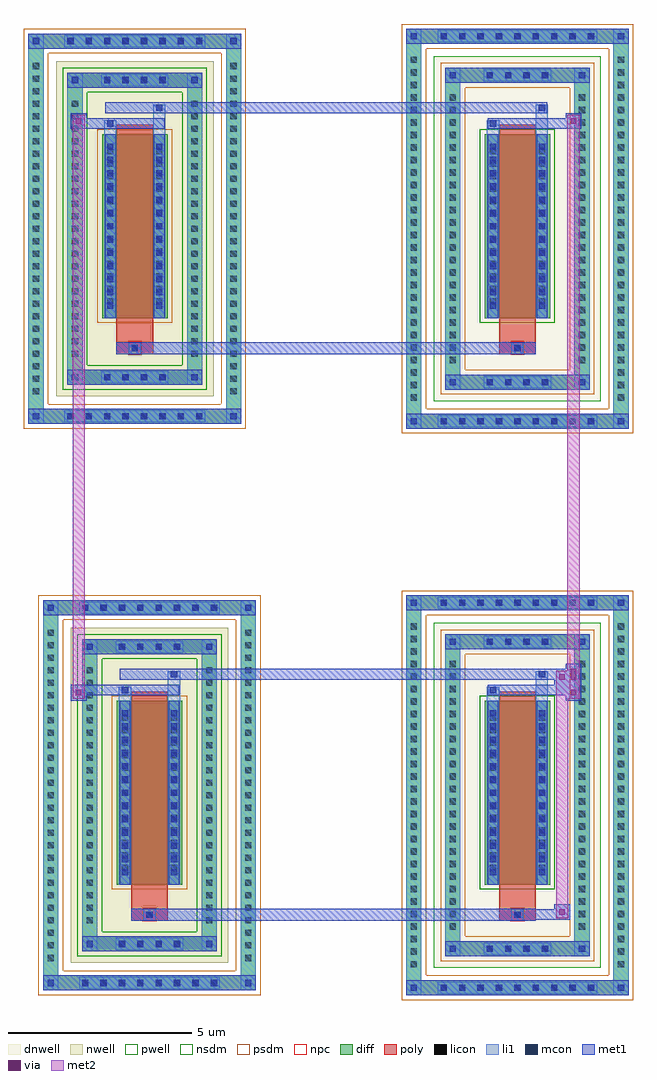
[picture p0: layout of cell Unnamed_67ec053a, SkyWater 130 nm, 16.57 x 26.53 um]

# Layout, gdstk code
import gdstk
lib = gdstk.Library(unit=1e-6, precision=5e-09)
def R(c, l, rs):  # rectangles x0, y0, x1, y1
    for r in rs: c.add(gdstk.rectangle(r[:2], r[2:], *l))
def A(c, l, x, y, w, h, nx, ny, dx, dy):  # array of equal rectangles
    R(c, l, [(x+i*dx, y+j*dy, x+i*dx+w, y+j*dy+h) for i in range(nx) for j in range(ny)])
def P(c, l, *ps):  # polygons
    for p in ps: c.add(gdstk.Polygon(p, *l))
dnwell = (64, 18)
nwell = (64, 20)
pwell = (64, 44)
diff = (65, 20)
poly = (66, 20)
licon = (66, 44)
li1 = (67, 20)
mcon = (67, 44)
met1 = (68, 20)
via = (68, 44)
met2 = (69, 20)
nsdm = (93, 44)
psdm = (94, 20)
npc = (95, 20)

unnamed_5d99ce48 = lib.new_cell('Unnamed_5d99ce48')
R(unnamed_5d99ce48, nwell, [(-2.14,-4.555,2.14,4.555)])
A(unnamed_5d99ce48, diff, -1.955, -5.305, 0.41, 0.41, 8, 2, 0.5, 10.2)
A(unnamed_5d99ce48, diff, -2.89, -4.625, 0.41, 0.41, 1, 27, 0, 0.34)
A(unnamed_5d99ce48, diff, 2.48, -4.625, 0.41, 0.41, 1, 27, 0, 0.34)
A(unnamed_5d99ce48, diff, -0.955, -4.245, 0.41, 0.41, 4, 2, 0.5, 8.08)
A(unnamed_5d99ce48, diff, -1.83, -3.605, 0.41, 0.41, 1, 21, 0, 0.34)
A(unnamed_5d99ce48, diff, 1.42, -3.605, 0.41, 0.41, 1, 21, 0, 0.34)
R(unnamed_5d99ce48, diff, [(-1.955,-5.305,1.955,-4.895), (-2.89,-4.625,-2.48,4.625), (2.48,-4.625,2.89,4.625), (-0.955,-4.245,0.955,-3.835), (-1.83,-3.605,-1.42,3.605), (1.42,-3.605,1.83,3.605), (-0.89,-2.43,0.89,2.57), (-0.955,3.835,0.955,4.245), (-1.955,4.895,1.955,5.305)])
P(unnamed_5d99ce48, diff, [(2.89,5.305),(-2.89,5.305),(-2.89,-4.895),(-2.48,-4.895),(-2.48,4.895),(2.48,4.895),(2.48,-4.895),(-2.48,-4.895),(-2.89,-4.895),(-2.89,-5.305),(2.89,-5.305)],
  [(1.83,4.245),(-1.83,4.245),(-1.83,-3.835),(-1.42,-3.835),(-1.42,3.835),(1.42,3.835),(1.42,-3.835),(-1.42,-3.835),(-1.83,-3.835),(-1.83,-4.245),(1.83,-4.245)])
R(unnamed_5d99ce48, poly, [(-0.5,-3.41,0.5,-3.08), (-0.165,-3.41,0.165,-3.08), (-0.5,-3.08,0.5,-2.68), (-0.5,-2.68,0.5,2.82)])
A(unnamed_5d99ce48, licon, -1.835, -5.185, 0.17, 0.17, 8, 2, 0.5, 10.2)
A(unnamed_5d99ce48, licon, -2.77, -4.505, 0.17, 0.17, 1, 27, 0, 0.34)
A(unnamed_5d99ce48, licon, 2.6, -4.505, 0.17, 0.17, 1, 27, 0, 0.34)
A(unnamed_5d99ce48, licon, -0.835, -4.125, 0.17, 0.17, 4, 2, 0.5, 8.08)
A(unnamed_5d99ce48, licon, -1.71, -3.485, 0.17, 0.17, 1, 21, 0, 0.34)
A(unnamed_5d99ce48, licon, 1.54, -3.485, 0.17, 0.17, 1, 21, 0, 0.34)
A(unnamed_5d99ce48, licon, -0.75, -2.055, 0.17, 0.17, 1, 13, 0, 0.34)
A(unnamed_5d99ce48, licon, 0.58, -2.055, 0.17, 0.17, 1, 13, 0, 0.34)
R(unnamed_5d99ce48, licon, [(-0.085,-3.33,0.085,-3.16)])
A(unnamed_5d99ce48, li1, -1.915, -5.265, 0.33, 0.33, 8, 2, 0.5, 10.2)
A(unnamed_5d99ce48, li1, -2.85, -4.585, 0.33, 0.33, 1, 27, 0, 0.34)
A(unnamed_5d99ce48, li1, 2.52, -4.585, 0.33, 0.33, 1, 27, 0, 0.34)
A(unnamed_5d99ce48, li1, -0.915, -4.205, 0.33, 0.33, 4, 2, 0.5, 8.08)
A(unnamed_5d99ce48, li1, -1.79, -3.565, 0.33, 0.33, 1, 21, 0, 0.34)
A(unnamed_5d99ce48, li1, 1.46, -3.565, 0.33, 0.33, 1, 21, 0, 0.34)
A(unnamed_5d99ce48, li1, -0.75, -2.175, 0.17, 0.17, 1, 13, 0, 0.36)
A(unnamed_5d99ce48, li1, 0.58, -2.175, 0.17, 0.17, 1, 13, 0, 0.36)
A(unnamed_5d99ce48, li1, -0.83, -2.135, 0.33, 0.33, 1, 13, 0, 0.34)
A(unnamed_5d99ce48, li1, 0.5, -2.135, 0.33, 0.33, 1, 13, 0, 0.34)
R(unnamed_5d99ce48, li1, [(-2.89,-5.305,-2.48,-4.895), (2.48,-5.305,2.89,-4.895), (-1.915,-5.265,1.915,-4.935), (-2.77,-5.185,-2.6,-5.015), (-2.77,-5.185,-2.6,-5.015), (2.6,-5.185,2.77,-5.015), (2.6,-5.185,2.77,-5.015), (-2.89,-4.895,-2.48,4.895), (2.48,-4.895,2.89,4.895), (-1.83,-4.245,-1.42,-3.835), (1.42,-4.245,1.83,-3.835), (-0.915,-4.205,0.915,-3.875), (-1.71,-4.125,-1.54,-3.955), (-1.71,-4.125,-1.54,-3.955), (1.54,-4.125,1.71,-3.955), (1.54,-4.125,1.71,-3.955), (-1.83,-3.835,-1.42,3.835), (1.42,-3.835,1.83,3.835), (-0.165,-3.41,0.165,-3.08), (-0.83,-2.43,-0.5,2.57), (0.5,-2.43,0.83,2.57), (-0.75,-2.175,-0.58,2.315), (0.58,-2.175,0.75,2.315), (-0.83,2.57,-0.5,2.945), (0.5,2.57,0.83,3.375), (-0.75,2.775,-0.58,2.945), (0.58,3.205,0.75,3.375), (-1.83,3.835,-1.42,4.245), (1.42,3.835,1.83,4.245), (-0.915,3.875,0.915,4.205), (-1.71,3.955,-1.54,4.125), (-1.71,3.955,-1.54,4.125), (1.54,3.955,1.71,4.125), (1.54,3.955,1.71,4.125), (-2.89,4.895,-2.48,5.305), (2.48,4.895,2.89,5.305), (-1.915,4.935,1.915,5.265), (-2.77,5.015,-2.6,5.185), (-2.77,5.015,-2.6,5.185), (2.6,5.015,2.77,5.185), (2.6,5.015,2.77,5.185)])
A(unnamed_5d99ce48, mcon, -1.835, -5.185, 0.17, 0.17, 8, 2, 0.5, 10.2)
A(unnamed_5d99ce48, mcon, -0.835, -4.125, 0.17, 0.17, 4, 2, 0.5, 8.08)
A(unnamed_5d99ce48, mcon, -0.75, -2.175, 0.17, 0.17, 1, 13, 0, 0.36)
A(unnamed_5d99ce48, mcon, 0.58, -2.175, 0.17, 0.17, 1, 13, 0, 0.36)
R(unnamed_5d99ce48, mcon, [(-2.77,-5.185,-2.6,-5.015), (2.6,-5.185,2.77,-5.015), (-1.71,-4.125,-1.54,-3.955), (1.54,-4.125,1.71,-3.955), (-0.085,-3.33,0.085,-3.16), (-0.75,2.775,-0.58,2.945), (0.58,3.205,0.75,3.375), (-1.71,3.955,-1.54,4.125), (1.54,3.955,1.71,4.125), (-2.77,5.015,-2.6,5.185), (2.6,5.015,2.77,5.185)])
A(unnamed_5d99ce48, met1, -1.895, -5.245, 0.29, 0.29, 8, 2, 0.5, 10.2)
A(unnamed_5d99ce48, met1, -0.895, -4.185, 0.29, 0.29, 4, 2, 0.5, 8.08)
A(unnamed_5d99ce48, met1, -0.81, -2.235, 0.29, 0.29, 1, 13, 0, 0.36)
A(unnamed_5d99ce48, met1, 0.52, -2.235, 0.29, 0.29, 1, 13, 0, 0.36)
R(unnamed_5d99ce48, met1, [(-2.89,-5.305,-2.48,-4.895), (-2.89,-5.305,-2.48,-4.895), (-2.48,-5.305,2.48,-4.895), (2.48,-5.305,2.89,-4.895), (2.48,-5.305,2.89,-4.895), (-2.83,-5.245,-2.54,-4.955), (2.54,-5.245,2.83,-4.955), (-1.83,-4.245,-1.42,-3.835), (-1.83,-4.245,-1.42,-3.835), (-1.42,-4.245,1.42,-3.835), (1.42,-4.245,1.83,-3.835), (1.42,-4.245,1.83,-3.835), (-1.77,-4.185,-1.48,-3.895), (1.48,-4.185,1.77,-3.895), (-0.5,-3.41,0.5,-3.08), (-0.145,-3.39,0.145,-3.1), (-0.81,-2.43,-0.52,2.57), (0.52,-2.43,0.81,2.57), (-0.81,2.715,-0.52,3.005), (-0.81,2.715,0.81,3.005), (-0.81,3.145,0.81,3.435), (0.52,3.145,0.81,3.435), (-1.83,3.835,-1.42,4.245), (-1.83,3.835,-1.42,4.245), (-1.42,3.835,1.42,4.245), (1.42,3.835,1.83,4.245), (1.42,3.835,1.83,4.245), (-1.77,3.895,-1.48,4.185), (1.48,3.895,1.77,4.185), (-2.89,4.895,-2.48,5.305), (-2.89,4.895,-2.48,5.305), (-2.48,4.895,2.48,5.305), (2.48,4.895,2.89,5.305), (2.48,4.895,2.89,5.305), (-2.83,4.955,-2.54,5.245), (2.54,4.955,2.83,5.245)])
P(unnamed_5d99ce48, nsdm, [(1.96,4.375),(-1.96,4.375),(-1.96,-3.705),(-1.29,-3.705),(-1.29,3.705),(1.29,3.705),(1.29,-3.705),(-1.29,-3.705),(-1.96,-3.705),(-1.96,-4.375),(1.96,-4.375)])
R(unnamed_5d99ce48, psdm, [(-1.02,-2.56,1.02,2.7)])
P(unnamed_5d99ce48, psdm, [(3.02,5.435),(-3.02,5.435),(-3.02,-4.765),(-2.35,-4.765),(-2.35,4.765),(2.35,4.765),(2.35,-4.765),(-2.35,-4.765),(-3.02,-4.765),(-3.02,-5.435),(3.02,-5.435)])
R(unnamed_5d99ce48, npc, [(-0.185,-3.43,0.185,-3.06), (-0.185,-3.43,0.185,-3.06)])

unnamed_ae79c6bc = lib.new_cell('Unnamed_ae79c6bc')
R(unnamed_ae79c6bc, dnwell, [(-2.27,-4.685,2.27,4.685)])
R(unnamed_ae79c6bc, pwell, [(-2.27,-4.685,2.27,4.685)])
A(unnamed_ae79c6bc, diff, -2.205, -5.435, 0.41, 0.41, 9, 2, 0.5, 10.46)
A(unnamed_ae79c6bc, diff, -3.02, -4.795, 0.41, 0.41, 1, 28, 0, 0.34)
A(unnamed_ae79c6bc, diff, 2.61, -4.795, 0.41, 0.41, 1, 28, 0, 0.34)
A(unnamed_ae79c6bc, diff, -0.955, -4.375, 0.41, 0.41, 4, 2, 0.5, 8.34)
A(unnamed_ae79c6bc, diff, -1.96, -3.775, 0.41, 0.41, 1, 22, 0, 0.34)
A(unnamed_ae79c6bc, diff, 1.55, -3.775, 0.41, 0.41, 1, 22, 0, 0.34)
R(unnamed_ae79c6bc, diff, [(-2.205,-5.435,2.205,-5.025), (-3.02,-4.795,-2.61,4.795), (2.61,-4.795,3.02,4.795), (-0.955,-4.375,0.955,-3.965), (-1.96,-3.775,-1.55,3.775), (1.55,-3.775,1.96,3.775), (-0.89,-2.43,0.89,2.57), (-0.955,3.965,0.955,4.375), (-2.205,5.025,2.205,5.435)])
P(unnamed_ae79c6bc, diff, [(3.02,5.435),(-3.02,5.435),(-3.02,-5.025),(-2.61,-5.025),(-2.61,5.025),(2.61,5.025),(2.61,-5.025),(-2.61,-5.025),(-3.02,-5.025),(-3.02,-5.435),(3.02,-5.435)],
  [(1.96,4.375),(-1.96,4.375),(-1.96,-3.965),(-1.55,-3.965),(-1.55,3.965),(1.55,3.965),(1.55,-3.965),(-1.55,-3.965),(-1.96,-3.965),(-1.96,-4.375),(1.96,-4.375)])
R(unnamed_ae79c6bc, poly, [(-0.5,-3.41,0.5,-3.08), (-0.165,-3.41,0.165,-3.08), (-0.5,-3.08,0.5,-2.68), (-0.5,-2.68,0.5,2.82)])
A(unnamed_ae79c6bc, licon, -2.085, -5.315, 0.17, 0.17, 9, 2, 0.5, 10.46)
A(unnamed_ae79c6bc, licon, -2.9, -4.675, 0.17, 0.17, 1, 28, 0, 0.34)
A(unnamed_ae79c6bc, licon, 2.73, -4.675, 0.17, 0.17, 1, 28, 0, 0.34)
A(unnamed_ae79c6bc, licon, -0.835, -4.255, 0.17, 0.17, 4, 2, 0.5, 8.34)
A(unnamed_ae79c6bc, licon, -1.84, -3.655, 0.17, 0.17, 1, 22, 0, 0.34)
A(unnamed_ae79c6bc, licon, 1.67, -3.655, 0.17, 0.17, 1, 22, 0, 0.34)
A(unnamed_ae79c6bc, licon, -0.75, -2.055, 0.17, 0.17, 1, 13, 0, 0.34)
A(unnamed_ae79c6bc, licon, 0.58, -2.055, 0.17, 0.17, 1, 13, 0, 0.34)
R(unnamed_ae79c6bc, licon, [(-0.085,-3.33,0.085,-3.16)])
A(unnamed_ae79c6bc, li1, -2.165, -5.395, 0.33, 0.33, 9, 2, 0.5, 10.46)
A(unnamed_ae79c6bc, li1, -2.98, -4.755, 0.33, 0.33, 1, 28, 0, 0.34)
A(unnamed_ae79c6bc, li1, 2.65, -4.755, 0.33, 0.33, 1, 28, 0, 0.34)
A(unnamed_ae79c6bc, li1, -0.915, -4.335, 0.33, 0.33, 4, 2, 0.5, 8.34)
A(unnamed_ae79c6bc, li1, -1.92, -3.735, 0.33, 0.33, 1, 22, 0, 0.34)
A(unnamed_ae79c6bc, li1, 1.59, -3.735, 0.33, 0.33, 1, 22, 0, 0.34)
A(unnamed_ae79c6bc, li1, -0.75, -2.175, 0.17, 0.17, 1, 13, 0, 0.36)
A(unnamed_ae79c6bc, li1, 0.58, -2.175, 0.17, 0.17, 1, 13, 0, 0.36)
A(unnamed_ae79c6bc, li1, -0.83, -2.135, 0.33, 0.33, 1, 13, 0, 0.34)
A(unnamed_ae79c6bc, li1, 0.5, -2.135, 0.33, 0.33, 1, 13, 0, 0.34)
R(unnamed_ae79c6bc, li1, [(-3.02,-5.435,-2.61,-5.025), (2.61,-5.435,3.02,-5.025), (-2.165,-5.395,2.165,-5.065), (-2.9,-5.315,-2.73,-5.145), (-2.9,-5.315,-2.73,-5.145), (2.73,-5.315,2.9,-5.145), (2.73,-5.315,2.9,-5.145), (-3.02,-5.025,-2.61,5.025), (2.61,-5.025,3.02,5.025), (-1.96,-4.375,-1.55,-3.965), (1.55,-4.375,1.96,-3.965), (-0.915,-4.335,0.915,-4.005), (-1.84,-4.255,-1.67,-4.085), (-1.84,-4.255,-1.67,-4.085), (1.67,-4.255,1.84,-4.085), (1.67,-4.255,1.84,-4.085), (-1.96,-3.965,-1.55,3.965), (1.55,-3.965,1.96,3.965), (-0.165,-3.41,0.165,-3.08), (-0.83,-2.43,-0.5,2.57), (0.5,-2.43,0.83,2.57), (-0.75,-2.175,-0.58,2.315), (0.58,-2.175,0.75,2.315), (-0.83,2.57,-0.5,2.945), (0.5,2.57,0.83,3.375), (-0.75,2.775,-0.58,2.945), (0.58,3.205,0.75,3.375), (-1.96,3.965,-1.55,4.375), (1.55,3.965,1.96,4.375), (-0.915,4.005,0.915,4.335), (-1.84,4.085,-1.67,4.255), (-1.84,4.085,-1.67,4.255), (1.67,4.085,1.84,4.255), (1.67,4.085,1.84,4.255), (-3.02,5.025,-2.61,5.435), (2.61,5.025,3.02,5.435), (-2.165,5.065,2.165,5.395), (-2.9,5.145,-2.73,5.315), (-2.9,5.145,-2.73,5.315), (2.73,5.145,2.9,5.315), (2.73,5.145,2.9,5.315)])
A(unnamed_ae79c6bc, mcon, -2.085, -5.315, 0.17, 0.17, 9, 2, 0.5, 10.46)
A(unnamed_ae79c6bc, mcon, -0.835, -4.255, 0.17, 0.17, 4, 2, 0.5, 8.34)
A(unnamed_ae79c6bc, mcon, -0.75, -2.175, 0.17, 0.17, 1, 13, 0, 0.36)
A(unnamed_ae79c6bc, mcon, 0.58, -2.175, 0.17, 0.17, 1, 13, 0, 0.36)
R(unnamed_ae79c6bc, mcon, [(-2.9,-5.315,-2.73,-5.145), (2.73,-5.315,2.9,-5.145), (-1.84,-4.255,-1.67,-4.085), (1.67,-4.255,1.84,-4.085), (-0.085,-3.33,0.085,-3.16), (-0.75,2.775,-0.58,2.945), (0.58,3.205,0.75,3.375), (-1.84,4.085,-1.67,4.255), (1.67,4.085,1.84,4.255), (-2.9,5.145,-2.73,5.315), (2.73,5.145,2.9,5.315)])
A(unnamed_ae79c6bc, met1, -2.145, -5.375, 0.29, 0.29, 9, 2, 0.5, 10.46)
A(unnamed_ae79c6bc, met1, -0.895, -4.315, 0.29, 0.29, 4, 2, 0.5, 8.34)
A(unnamed_ae79c6bc, met1, -0.81, -2.235, 0.29, 0.29, 1, 13, 0, 0.36)
A(unnamed_ae79c6bc, met1, 0.52, -2.235, 0.29, 0.29, 1, 13, 0, 0.36)
R(unnamed_ae79c6bc, met1, [(-3.02,-5.435,-2.61,-5.025), (-3.02,-5.435,-2.61,-5.025), (-2.61,-5.435,2.61,-5.025), (2.61,-5.435,3.02,-5.025), (2.61,-5.435,3.02,-5.025), (-2.96,-5.375,-2.67,-5.085), (2.67,-5.375,2.96,-5.085), (-1.96,-4.375,-1.55,-3.965), (-1.96,-4.375,-1.55,-3.965), (-1.55,-4.375,1.55,-3.965), (1.55,-4.375,1.96,-3.965), (1.55,-4.375,1.96,-3.965), (-1.9,-4.315,-1.61,-4.025), (1.61,-4.315,1.9,-4.025), (-0.5,-3.41,0.5,-3.08), (-0.145,-3.39,0.145,-3.1), (-0.81,-2.43,-0.52,2.57), (0.52,-2.43,0.81,2.57), (-0.81,2.715,-0.52,3.005), (-0.81,2.715,0.81,3.005), (-0.81,3.145,0.81,3.435), (0.52,3.145,0.81,3.435), (-1.96,3.965,-1.55,4.375), (-1.96,3.965,-1.55,4.375), (-1.55,3.965,1.55,4.375), (1.55,3.965,1.96,4.375), (1.55,3.965,1.96,4.375), (-1.9,4.025,-1.61,4.315), (1.61,4.025,1.9,4.315), (-3.02,5.025,-2.61,5.435), (-3.02,5.025,-2.61,5.435), (-2.61,5.025,2.61,5.435), (2.61,5.025,3.02,5.435), (2.61,5.025,3.02,5.435), (-2.96,5.085,-2.67,5.375), (2.67,5.085,2.96,5.375)])
R(unnamed_ae79c6bc, nsdm, [(-1.02,-2.56,1.02,2.7)])
P(unnamed_ae79c6bc, psdm, [(3.15,5.565),(-3.15,5.565),(-3.15,-4.895),(-2.48,-4.895),(-2.48,4.895),(2.48,4.895),(2.48,-4.895),(-2.48,-4.895),(-3.15,-4.895),(-3.15,-5.565),(3.15,-5.565)],
  [(2.09,4.505),(-2.09,4.505),(-2.09,-3.835),(-1.42,-3.835),(-1.42,3.835),(1.42,3.835),(1.42,-3.835),(-1.42,-3.835),(-2.09,-3.835),(-2.09,-4.505),(2.09,-4.505)])
R(unnamed_ae79c6bc, npc, [(-0.185,-3.43,0.185,-3.06), (-0.185,-3.43,0.185,-3.06)])

unnamed_a7cad281 = lib.new_cell('Unnamed_a7cad281')
R(unnamed_a7cad281, nwell, [(-2.14,-4.555,2.14,4.555)])
A(unnamed_a7cad281, diff, -1.955, -5.305, 0.41, 0.41, 8, 2, 0.5, 10.2)
A(unnamed_a7cad281, diff, -2.89, -4.625, 0.41, 0.41, 1, 27, 0, 0.34)
A(unnamed_a7cad281, diff, 2.48, -4.625, 0.41, 0.41, 1, 27, 0, 0.34)
A(unnamed_a7cad281, diff, -0.955, -4.245, 0.41, 0.41, 4, 2, 0.5, 8.08)
A(unnamed_a7cad281, diff, -1.83, -3.605, 0.41, 0.41, 1, 21, 0, 0.34)
A(unnamed_a7cad281, diff, 1.42, -3.605, 0.41, 0.41, 1, 21, 0, 0.34)
R(unnamed_a7cad281, diff, [(-1.955,-5.305,1.955,-4.895), (-2.89,-4.625,-2.48,4.625), (2.48,-4.625,2.89,4.625), (-0.955,-4.245,0.955,-3.835), (-1.83,-3.605,-1.42,3.605), (1.42,-3.605,1.83,3.605), (-0.89,-2.43,0.89,2.57), (-0.955,3.835,0.955,4.245), (-1.955,4.895,1.955,5.305)])
P(unnamed_a7cad281, diff, [(2.89,5.305),(-2.89,5.305),(-2.89,-4.895),(-2.48,-4.895),(-2.48,4.895),(2.48,4.895),(2.48,-4.895),(-2.48,-4.895),(-2.89,-4.895),(-2.89,-5.305),(2.89,-5.305)],
  [(1.83,4.245),(-1.83,4.245),(-1.83,-3.835),(-1.42,-3.835),(-1.42,3.835),(1.42,3.835),(1.42,-3.835),(-1.42,-3.835),(-1.83,-3.835),(-1.83,-4.245),(1.83,-4.245)])
R(unnamed_a7cad281, poly, [(-0.5,-3.41,0.5,-3.08), (-0.165,-3.41,0.165,-3.08), (-0.5,-3.08,0.5,-2.68), (-0.5,-2.68,0.5,2.82)])
A(unnamed_a7cad281, licon, -1.835, -5.185, 0.17, 0.17, 8, 2, 0.5, 10.2)
A(unnamed_a7cad281, licon, -2.77, -4.505, 0.17, 0.17, 1, 27, 0, 0.34)
A(unnamed_a7cad281, licon, 2.6, -4.505, 0.17, 0.17, 1, 27, 0, 0.34)
A(unnamed_a7cad281, licon, -0.835, -4.125, 0.17, 0.17, 4, 2, 0.5, 8.08)
A(unnamed_a7cad281, licon, -1.71, -3.485, 0.17, 0.17, 1, 21, 0, 0.34)
A(unnamed_a7cad281, licon, 1.54, -3.485, 0.17, 0.17, 1, 21, 0, 0.34)
A(unnamed_a7cad281, licon, -0.75, -2.055, 0.17, 0.17, 1, 13, 0, 0.34)
A(unnamed_a7cad281, licon, 0.58, -2.055, 0.17, 0.17, 1, 13, 0, 0.34)
R(unnamed_a7cad281, licon, [(-0.085,-3.33,0.085,-3.16)])
A(unnamed_a7cad281, li1, -1.915, -5.265, 0.33, 0.33, 8, 2, 0.5, 10.2)
A(unnamed_a7cad281, li1, -2.85, -4.585, 0.33, 0.33, 1, 27, 0, 0.34)
A(unnamed_a7cad281, li1, 2.52, -4.585, 0.33, 0.33, 1, 27, 0, 0.34)
A(unnamed_a7cad281, li1, -0.915, -4.205, 0.33, 0.33, 4, 2, 0.5, 8.08)
A(unnamed_a7cad281, li1, -1.79, -3.565, 0.33, 0.33, 1, 21, 0, 0.34)
A(unnamed_a7cad281, li1, 1.46, -3.565, 0.33, 0.33, 1, 21, 0, 0.34)
A(unnamed_a7cad281, li1, -0.75, -2.175, 0.17, 0.17, 1, 13, 0, 0.36)
A(unnamed_a7cad281, li1, 0.58, -2.175, 0.17, 0.17, 1, 13, 0, 0.36)
A(unnamed_a7cad281, li1, -0.83, -2.135, 0.33, 0.33, 1, 13, 0, 0.34)
A(unnamed_a7cad281, li1, 0.5, -2.135, 0.33, 0.33, 1, 13, 0, 0.34)
R(unnamed_a7cad281, li1, [(-2.89,-5.305,-2.48,-4.895), (2.48,-5.305,2.89,-4.895), (-1.915,-5.265,1.915,-4.935), (-2.77,-5.185,-2.6,-5.015), (-2.77,-5.185,-2.6,-5.015), (2.6,-5.185,2.77,-5.015), (2.6,-5.185,2.77,-5.015), (-2.89,-4.895,-2.48,4.895), (2.48,-4.895,2.89,4.895), (-1.83,-4.245,-1.42,-3.835), (1.42,-4.245,1.83,-3.835), (-0.915,-4.205,0.915,-3.875), (-1.71,-4.125,-1.54,-3.955), (-1.71,-4.125,-1.54,-3.955), (1.54,-4.125,1.71,-3.955), (1.54,-4.125,1.71,-3.955), (-1.83,-3.835,-1.42,3.835), (1.42,-3.835,1.83,3.835), (-0.165,-3.41,0.165,-3.08), (-0.83,-2.43,-0.5,2.57), (0.5,-2.43,0.83,2.57), (-0.75,-2.175,-0.58,2.315), (0.58,-2.175,0.75,2.315), (-0.83,2.57,-0.5,2.945), (0.5,2.57,0.83,3.375), (-0.75,2.775,-0.58,2.945), (0.58,3.205,0.75,3.375), (-1.83,3.835,-1.42,4.245), (1.42,3.835,1.83,4.245), (-0.915,3.875,0.915,4.205), (-1.71,3.955,-1.54,4.125), (-1.71,3.955,-1.54,4.125), (1.54,3.955,1.71,4.125), (1.54,3.955,1.71,4.125), (-2.89,4.895,-2.48,5.305), (2.48,4.895,2.89,5.305), (-1.915,4.935,1.915,5.265), (-2.77,5.015,-2.6,5.185), (-2.77,5.015,-2.6,5.185), (2.6,5.015,2.77,5.185), (2.6,5.015,2.77,5.185)])
A(unnamed_a7cad281, mcon, -1.835, -5.185, 0.17, 0.17, 8, 2, 0.5, 10.2)
A(unnamed_a7cad281, mcon, -0.835, -4.125, 0.17, 0.17, 4, 2, 0.5, 8.08)
A(unnamed_a7cad281, mcon, -0.75, -2.175, 0.17, 0.17, 1, 13, 0, 0.36)
A(unnamed_a7cad281, mcon, 0.58, -2.175, 0.17, 0.17, 1, 13, 0, 0.36)
R(unnamed_a7cad281, mcon, [(-2.77,-5.185,-2.6,-5.015), (2.6,-5.185,2.77,-5.015), (-1.71,-4.125,-1.54,-3.955), (1.54,-4.125,1.71,-3.955), (-0.085,-3.33,0.085,-3.16), (-0.75,2.775,-0.58,2.945), (0.58,3.205,0.75,3.375), (-1.71,3.955,-1.54,4.125), (1.54,3.955,1.71,4.125), (-2.77,5.015,-2.6,5.185), (2.6,5.015,2.77,5.185)])
A(unnamed_a7cad281, met1, -1.895, -5.245, 0.29, 0.29, 8, 2, 0.5, 10.2)
A(unnamed_a7cad281, met1, -0.895, -4.185, 0.29, 0.29, 4, 2, 0.5, 8.08)
A(unnamed_a7cad281, met1, -0.81, -2.235, 0.29, 0.29, 1, 13, 0, 0.36)
A(unnamed_a7cad281, met1, 0.52, -2.235, 0.29, 0.29, 1, 13, 0, 0.36)
R(unnamed_a7cad281, met1, [(-2.89,-5.305,-2.48,-4.895), (-2.89,-5.305,-2.48,-4.895), (-2.48,-5.305,2.48,-4.895), (2.48,-5.305,2.89,-4.895), (2.48,-5.305,2.89,-4.895), (-2.83,-5.245,-2.54,-4.955), (2.54,-5.245,2.83,-4.955), (-1.83,-4.245,-1.42,-3.835), (-1.83,-4.245,-1.42,-3.835), (-1.42,-4.245,1.42,-3.835), (1.42,-4.245,1.83,-3.835), (1.42,-4.245,1.83,-3.835), (-1.77,-4.185,-1.48,-3.895), (1.48,-4.185,1.77,-3.895), (-0.5,-3.41,0.5,-3.08), (-0.145,-3.39,0.145,-3.1), (-0.81,-2.43,-0.52,2.57), (0.52,-2.43,0.81,2.57), (-0.81,2.715,-0.52,3.005), (-0.81,2.715,0.81,3.005), (-0.81,3.145,0.81,3.435), (0.52,3.145,0.81,3.435), (-1.83,3.835,-1.42,4.245), (-1.83,3.835,-1.42,4.245), (-1.42,3.835,1.42,4.245), (1.42,3.835,1.83,4.245), (1.42,3.835,1.83,4.245), (-1.77,3.895,-1.48,4.185), (1.48,3.895,1.77,4.185), (-2.89,4.895,-2.48,5.305), (-2.89,4.895,-2.48,5.305), (-2.48,4.895,2.48,5.305), (2.48,4.895,2.89,5.305), (2.48,4.895,2.89,5.305), (-2.83,4.955,-2.54,5.245), (2.54,4.955,2.83,5.245)])
P(unnamed_a7cad281, nsdm, [(1.96,4.375),(-1.96,4.375),(-1.96,-3.705),(-1.29,-3.705),(-1.29,3.705),(1.29,3.705),(1.29,-3.705),(-1.29,-3.705),(-1.96,-3.705),(-1.96,-4.375),(1.96,-4.375)])
R(unnamed_a7cad281, psdm, [(-1.02,-2.56,1.02,2.7)])
P(unnamed_a7cad281, psdm, [(3.02,5.435),(-3.02,5.435),(-3.02,-4.765),(-2.35,-4.765),(-2.35,4.765),(2.35,4.765),(2.35,-4.765),(-2.35,-4.765),(-3.02,-4.765),(-3.02,-5.435),(3.02,-5.435)])
R(unnamed_a7cad281, npc, [(-0.185,-3.43,0.185,-3.06), (-0.185,-3.43,0.185,-3.06)])

unnamed_7d276de9 = lib.new_cell('Unnamed_7d276de9')
R(unnamed_7d276de9, dnwell, [(-2.27,-4.685,2.27,4.685)])
R(unnamed_7d276de9, pwell, [(-2.27,-4.685,2.27,4.685)])
A(unnamed_7d276de9, diff, -2.205, -5.435, 0.41, 0.41, 9, 2, 0.5, 10.46)
A(unnamed_7d276de9, diff, -3.02, -4.795, 0.41, 0.41, 1, 28, 0, 0.34)
A(unnamed_7d276de9, diff, 2.61, -4.795, 0.41, 0.41, 1, 28, 0, 0.34)
A(unnamed_7d276de9, diff, -0.955, -4.375, 0.41, 0.41, 4, 2, 0.5, 8.34)
A(unnamed_7d276de9, diff, -1.96, -3.775, 0.41, 0.41, 1, 22, 0, 0.34)
A(unnamed_7d276de9, diff, 1.55, -3.775, 0.41, 0.41, 1, 22, 0, 0.34)
R(unnamed_7d276de9, diff, [(-2.205,-5.435,2.205,-5.025), (-3.02,-4.795,-2.61,4.795), (2.61,-4.795,3.02,4.795), (-0.955,-4.375,0.955,-3.965), (-1.96,-3.775,-1.55,3.775), (1.55,-3.775,1.96,3.775), (-0.89,-2.43,0.89,2.57), (-0.955,3.965,0.955,4.375), (-2.205,5.025,2.205,5.435)])
P(unnamed_7d276de9, diff, [(3.02,5.435),(-3.02,5.435),(-3.02,-5.025),(-2.61,-5.025),(-2.61,5.025),(2.61,5.025),(2.61,-5.025),(-2.61,-5.025),(-3.02,-5.025),(-3.02,-5.435),(3.02,-5.435)],
  [(1.96,4.375),(-1.96,4.375),(-1.96,-3.965),(-1.55,-3.965),(-1.55,3.965),(1.55,3.965),(1.55,-3.965),(-1.55,-3.965),(-1.96,-3.965),(-1.96,-4.375),(1.96,-4.375)])
R(unnamed_7d276de9, poly, [(-0.5,-3.41,0.5,-3.08), (-0.165,-3.41,0.165,-3.08), (-0.5,-3.08,0.5,-2.68), (-0.5,-2.68,0.5,2.82)])
A(unnamed_7d276de9, licon, -2.085, -5.315, 0.17, 0.17, 9, 2, 0.5, 10.46)
A(unnamed_7d276de9, licon, -2.9, -4.675, 0.17, 0.17, 1, 28, 0, 0.34)
A(unnamed_7d276de9, licon, 2.73, -4.675, 0.17, 0.17, 1, 28, 0, 0.34)
A(unnamed_7d276de9, licon, -0.835, -4.255, 0.17, 0.17, 4, 2, 0.5, 8.34)
A(unnamed_7d276de9, licon, -1.84, -3.655, 0.17, 0.17, 1, 22, 0, 0.34)
A(unnamed_7d276de9, licon, 1.67, -3.655, 0.17, 0.17, 1, 22, 0, 0.34)
A(unnamed_7d276de9, licon, -0.75, -2.055, 0.17, 0.17, 1, 13, 0, 0.34)
A(unnamed_7d276de9, licon, 0.58, -2.055, 0.17, 0.17, 1, 13, 0, 0.34)
R(unnamed_7d276de9, licon, [(-0.085,-3.33,0.085,-3.16)])
A(unnamed_7d276de9, li1, -2.165, -5.395, 0.33, 0.33, 9, 2, 0.5, 10.46)
A(unnamed_7d276de9, li1, -2.98, -4.755, 0.33, 0.33, 1, 28, 0, 0.34)
A(unnamed_7d276de9, li1, 2.65, -4.755, 0.33, 0.33, 1, 28, 0, 0.34)
A(unnamed_7d276de9, li1, -0.915, -4.335, 0.33, 0.33, 4, 2, 0.5, 8.34)
A(unnamed_7d276de9, li1, -1.92, -3.735, 0.33, 0.33, 1, 22, 0, 0.34)
A(unnamed_7d276de9, li1, 1.59, -3.735, 0.33, 0.33, 1, 22, 0, 0.34)
A(unnamed_7d276de9, li1, -0.75, -2.175, 0.17, 0.17, 1, 13, 0, 0.36)
A(unnamed_7d276de9, li1, 0.58, -2.175, 0.17, 0.17, 1, 13, 0, 0.36)
A(unnamed_7d276de9, li1, -0.83, -2.135, 0.33, 0.33, 1, 13, 0, 0.34)
A(unnamed_7d276de9, li1, 0.5, -2.135, 0.33, 0.33, 1, 13, 0, 0.34)
R(unnamed_7d276de9, li1, [(-3.02,-5.435,-2.61,-5.025), (2.61,-5.435,3.02,-5.025), (-2.165,-5.395,2.165,-5.065), (-2.9,-5.315,-2.73,-5.145), (-2.9,-5.315,-2.73,-5.145), (2.73,-5.315,2.9,-5.145), (2.73,-5.315,2.9,-5.145), (-3.02,-5.025,-2.61,5.025), (2.61,-5.025,3.02,5.025), (-1.96,-4.375,-1.55,-3.965), (1.55,-4.375,1.96,-3.965), (-0.915,-4.335,0.915,-4.005), (-1.84,-4.255,-1.67,-4.085), (-1.84,-4.255,-1.67,-4.085), (1.67,-4.255,1.84,-4.085), (1.67,-4.255,1.84,-4.085), (-1.96,-3.965,-1.55,3.965), (1.55,-3.965,1.96,3.965), (-0.165,-3.41,0.165,-3.08), (-0.83,-2.43,-0.5,2.57), (0.5,-2.43,0.83,2.57), (-0.75,-2.175,-0.58,2.315), (0.58,-2.175,0.75,2.315), (-0.83,2.57,-0.5,2.945), (0.5,2.57,0.83,3.375), (-0.75,2.775,-0.58,2.945), (0.58,3.205,0.75,3.375), (-1.96,3.965,-1.55,4.375), (1.55,3.965,1.96,4.375), (-0.915,4.005,0.915,4.335), (-1.84,4.085,-1.67,4.255), (-1.84,4.085,-1.67,4.255), (1.67,4.085,1.84,4.255), (1.67,4.085,1.84,4.255), (-3.02,5.025,-2.61,5.435), (2.61,5.025,3.02,5.435), (-2.165,5.065,2.165,5.395), (-2.9,5.145,-2.73,5.315), (-2.9,5.145,-2.73,5.315), (2.73,5.145,2.9,5.315), (2.73,5.145,2.9,5.315)])
A(unnamed_7d276de9, mcon, -2.085, -5.315, 0.17, 0.17, 9, 2, 0.5, 10.46)
A(unnamed_7d276de9, mcon, -0.835, -4.255, 0.17, 0.17, 4, 2, 0.5, 8.34)
A(unnamed_7d276de9, mcon, -0.75, -2.175, 0.17, 0.17, 1, 13, 0, 0.36)
A(unnamed_7d276de9, mcon, 0.58, -2.175, 0.17, 0.17, 1, 13, 0, 0.36)
R(unnamed_7d276de9, mcon, [(-2.9,-5.315,-2.73,-5.145), (2.73,-5.315,2.9,-5.145), (-1.84,-4.255,-1.67,-4.085), (1.67,-4.255,1.84,-4.085), (-0.085,-3.33,0.085,-3.16), (-0.75,2.775,-0.58,2.945), (0.58,3.205,0.75,3.375), (-1.84,4.085,-1.67,4.255), (1.67,4.085,1.84,4.255), (-2.9,5.145,-2.73,5.315), (2.73,5.145,2.9,5.315)])
A(unnamed_7d276de9, met1, -2.145, -5.375, 0.29, 0.29, 9, 2, 0.5, 10.46)
A(unnamed_7d276de9, met1, -0.895, -4.315, 0.29, 0.29, 4, 2, 0.5, 8.34)
A(unnamed_7d276de9, met1, -0.81, -2.235, 0.29, 0.29, 1, 13, 0, 0.36)
A(unnamed_7d276de9, met1, 0.52, -2.235, 0.29, 0.29, 1, 13, 0, 0.36)
R(unnamed_7d276de9, met1, [(-3.02,-5.435,-2.61,-5.025), (-3.02,-5.435,-2.61,-5.025), (-2.61,-5.435,2.61,-5.025), (2.61,-5.435,3.02,-5.025), (2.61,-5.435,3.02,-5.025), (-2.96,-5.375,-2.67,-5.085), (2.67,-5.375,2.96,-5.085), (-1.96,-4.375,-1.55,-3.965), (-1.96,-4.375,-1.55,-3.965), (-1.55,-4.375,1.55,-3.965), (1.55,-4.375,1.96,-3.965), (1.55,-4.375,1.96,-3.965), (-1.9,-4.315,-1.61,-4.025), (1.61,-4.315,1.9,-4.025), (-0.5,-3.41,0.5,-3.08), (-0.145,-3.39,0.145,-3.1), (-0.81,-2.43,-0.52,2.57), (0.52,-2.43,0.81,2.57), (-0.81,2.715,-0.52,3.005), (-0.81,2.715,0.81,3.005), (-0.81,3.145,0.81,3.435), (0.52,3.145,0.81,3.435), (-1.96,3.965,-1.55,4.375), (-1.96,3.965,-1.55,4.375), (-1.55,3.965,1.55,4.375), (1.55,3.965,1.96,4.375), (1.55,3.965,1.96,4.375), (-1.9,4.025,-1.61,4.315), (1.61,4.025,1.9,4.315), (-3.02,5.025,-2.61,5.435), (-3.02,5.025,-2.61,5.435), (-2.61,5.025,2.61,5.435), (2.61,5.025,3.02,5.435), (2.61,5.025,3.02,5.435), (-2.96,5.085,-2.67,5.375), (2.67,5.085,2.96,5.375)])
R(unnamed_7d276de9, nsdm, [(-1.02,-2.56,1.02,2.7)])
P(unnamed_7d276de9, psdm, [(3.15,5.565),(-3.15,5.565),(-3.15,-4.895),(-2.48,-4.895),(-2.48,4.895),(2.48,4.895),(2.48,-4.895),(-2.48,-4.895),(-3.15,-4.895),(-3.15,-5.565),(3.15,-5.565)],
  [(2.09,4.505),(-2.09,4.505),(-2.09,-3.835),(-1.42,-3.835),(-1.42,3.835),(1.42,3.835),(1.42,-3.835),(-1.42,-3.835),(-2.09,-3.835),(-2.09,-4.505),(2.09,-4.505)])
R(unnamed_7d276de9, npc, [(-0.185,-3.43,0.185,-3.06), (-0.185,-3.43,0.185,-3.06)])

c_route_b2da4ab6 = lib.new_cell('c_route_b2da4ab6')
R(c_route_b2da4ab6, met1, [(-1.74,2.575,-1.31,3.005), (-1.74,2.715,-0.41,3.005), (-1.74,18.115,-1.31,18.545), (-1.74,18.115,-0.81,18.405)])
R(c_route_b2da4ab6, via, [(-1.6,2.715,-1.45,2.865), (-1.6,18.255,-1.45,18.405)])
R(c_route_b2da4ab6, met2, [(-1.69,2.625,-1.36,2.955), (-1.69,2.625,-1.36,18.495), (-1.69,18.165,-1.36,18.495)])
P(c_route_b2da4ab6, met2, [(-1.36,2.625),(-1.36,2.625),(-1.36,2.955),(-1.36,2.955)],
  [(-1.36,18.165),(-1.36,18.165),(-1.36,18.495),(-1.36,18.495)])

c_route_74a004ed_3 = lib.new_cell('c_route_74a004ed$3')
R(c_route_74a004ed_3, met1, [(11.71,2.575,12.14,3.005), (11.21,2.715,12.14,3.005), (11.21,18.115,12.14,18.405), (11.71,18.115,12.14,18.545)])
R(c_route_74a004ed_3, via, [(11.85,2.715,12,2.865), (11.85,18.255,12,18.405)])
R(c_route_74a004ed_3, met2, [(11.76,2.625,12.09,2.955), (11.76,2.625,12.09,18.495), (11.76,18.165,12.09,18.495)])
P(c_route_74a004ed_3, met2, [(12.09,2.625),(12.09,2.625),(12.09,2.955),(12.09,2.955)],
  [(12.09,18.165),(12.09,18.165),(12.09,18.495),(12.09,18.495)])

c_route_c40cc7ec_3 = lib.new_cell('c_route_c40cc7ec$3')
R(c_route_c40cc7ec_3, met1, [(11.71,3.005,12.14,3.435), (1.21,3.145,12.14,3.435), (11.21,3.145,12.14,3.435), (11.71,3.145,12.14,3.575)])
R(c_route_c40cc7ec_3, via, [(11.85,3.145,12,3.295), (11.85,3.285,12,3.435)])
R(c_route_c40cc7ec_3, met2, [(11.76,3.055,12.09,3.385), (11.76,3.055,12.09,3.525), (11.76,3.195,12.09,3.525)])
P(c_route_c40cc7ec_3, met2, [(12.09,3.055),(12.09,3.055),(12.09,3.385),(12.09,3.385)],
  [(12.09,3.195),(12.09,3.195),(12.09,3.525),(12.09,3.525)])

straight_route_9c3a3662_ = lib.new_cell('straight_route_9c3a3662$2')
R(straight_route_9c3a3662_, met1, [(0.81,18.545,11.21,18.835)])

straight_route_4bd000ef_ = lib.new_cell('straight_route_4bd000ef$3')
R(straight_route_4bd000ef_, met1, [(-0.1,-3.41,9.9,-3.08)])

straight_route_d3b721e7_ = lib.new_cell('straight_route_d3b721e7$1')
R(straight_route_d3b721e7_, met1, [(-0.5,11.99,9.9,12.32)])

c_route_3711aa81_3 = lib.new_cell('c_route_3711aa81$3')
R(c_route_3711aa81_3, met1, [(10.9,-3.39,11.83,-3.1), (11.4,-3.39,11.83,-2.96), (11.4,3.005,11.83,3.435), (1.21,3.145,11.83,3.435)])
R(c_route_3711aa81_3, via, [(11.54,-3.25,11.69,-3.1), (11.54,3.145,11.69,3.295)])
R(c_route_3711aa81_3, met2, [(11.45,-3.34,11.78,-3.01), (11.45,-3.34,11.78,3.385), (11.45,3.055,11.78,3.385)])
P(c_route_3711aa81_3, met2, [(11.78,-3.34),(11.78,-3.34),(11.78,-3.01),(11.78,-3.01)],
  [(11.78,3.055),(11.78,3.055),(11.78,3.385),(11.78,3.385)])

unnamed_67ec053a = lib.new_cell('Unnamed_67ec053a')
unnamed_67ec053a.add(gdstk.Reference(unnamed_5d99ce48, (0.4,0)))
unnamed_67ec053a.add(gdstk.Reference(unnamed_ae79c6bc, (10.4,0)))
unnamed_67ec053a.add(gdstk.Reference(unnamed_a7cad281, (0,15.4)))
unnamed_67ec053a.add(gdstk.Reference(unnamed_7d276de9, (10.4,15.4)))
unnamed_67ec053a.add(gdstk.Reference(c_route_b2da4ab6, (0,0)))
unnamed_67ec053a.add(gdstk.Reference(c_route_74a004ed_3, (0,0)))
unnamed_67ec053a.add(gdstk.Reference(c_route_c40cc7ec_3, (0,0)))
unnamed_67ec053a.add(gdstk.Reference(straight_route_9c3a3662_, (0,0)))
unnamed_67ec053a.add(gdstk.Reference(straight_route_4bd000ef_, (0,0)))
unnamed_67ec053a.add(gdstk.Reference(straight_route_d3b721e7_, (0,0)))
unnamed_67ec053a.add(gdstk.Reference(c_route_3711aa81_3, (0,0)))

lib.write_gds('Unnamed_67ec053a.gds')
